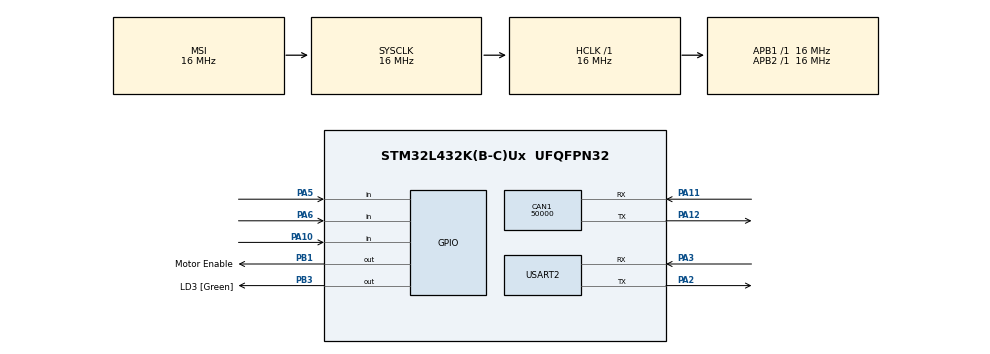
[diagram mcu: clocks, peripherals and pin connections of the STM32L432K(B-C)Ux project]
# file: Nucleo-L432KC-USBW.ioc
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CAN1.ABOM=ENABLE
CAN1.BS1=CAN_BS1_11TQ
CAN1.BS2=CAN_BS2_8TQ
CAN1.CalculateBaudRate=50000
CAN1.CalculateTimeBit=20000
CAN1.CalculateTimeQuantum=1000.0
Mcu.Family=STM32L4
Mcu.Name=STM32L432K(B-C)Ux
Mcu.Package=UFQFPN32
NVIC.CAN1_RX0_IRQn=true\:0\:0\:false\:false\:true\:true\:true\:true
NVIC.CAN1_RX1_IRQn=true\:0\:0\:false\:false\:true\:true\:true\:true
NVIC.PriorityGroup=NVIC_PRIORITYGROUP_4
NVIC.TIM1_UP_TIM16_IRQn=true\:0\:0\:false\:false\:true\:true\:true\:true
NVIC.TIM6_DAC_IRQn=true\:0\:0\:false\:false\:true\:true\:true\:true
NVIC.TIM7_IRQn=true\:0\:0\:false\:false\:true\:true\:true\:true
PA0.GPIO_Label=MCO [High speed clock in]
PA0.Mode=HSE-External-Clock-Source-for-LittleOrca
PA0.Signal=RCC_CK_IN
PA10.Signal=GPIO_Input
PA11.Mode=CAN_Activate
PA11.Signal=CAN1_RX
PA12.Mode=CAN_Activate
PA12.Signal=CAN1_TX
PA13\ (JTMS-SWDIO).GPIO_Label=SWDIO
PA13\ (JTMS-SWDIO).Mode=Serial_Wire
PA13\ (JTMS-SWDIO).Signal=SYS_JTMS-SWDIO
PA14\ (JTCK-SWCLK).GPIO_Label=SWCLK
PA14\ (JTCK-SWCLK).Mode=Serial_Wire
PA14\ (JTCK-SWCLK).Signal=SYS_JTCK-SWCLK
PA2.Mode=Asynchronous
PA2.Signal=USART2_TX
PA3.Mode=Asynchronous
PA3.Signal=USART2_RX
PA5.Signal=GPIO_Input
PA6.Signal=GPIO_Input
PB1.GPIO_Label=Motor Enable
PB1.Signal=GPIO_Output
PB3\ (JTDO-TRACESWO).GPIO_Label=LD3 [Green]
PB3\ (JTDO-TRACESWO).Signal=GPIO_Output
PC14-OSC32_IN\ (PC14).Mode=LSE-External-Oscillator
PC14-OSC32_IN\ (PC14).Signal=RCC_OSC32_IN
PC15-OSC32_OUT\ (PC15).Mode=LSE-External-Oscillator
PC15-OSC32_OUT\ (PC15).Signal=RCC_OSC32_OUT
ProjectManager.HeapSize=0x200
ProjectManager.StackSize=0x400
ProjectManager.TargetToolchain=STM32CubeIDE
RCC.ADCFreq_Value=64000000
RCC.AHBFreq_Value=16000000
RCC.APB1Freq_Value=16000000
RCC.APB1TimFreq_Value=16000000
RCC.APB2Freq_Value=16000000
RCC.APB2TimFreq_Value=16000000
RCC.CortexFreq_Value=16000000
RCC.HCLKFreq_Value=16000000
RCC.HSE_VALUE=8000000
RCC.HSI16_VALUE=16000000
RCC.HSI48_VALUE=48000000
RCC.HSI_VALUE=16000000
RCC.MSIClockRange=RCC_MSIRANGE_8
RCC.MSI_VALUE=16000000
RCC.PLLMUL=RCC_PLLMUL_4
RCC.SYSCLKFreq_VALUE=16000000
RCC.USBFreq_Value=64000000
RCC.VCOOutputFreq_Value=128000000
TIM16.Period=20000
TIM16.Prescaler=160-1
TIM6.Period=25000
TIM6.Prescaler=16-1
TIM7.Period=50
TIM7.Prescaler=16-1
USART2.VirtualMode-Asynchronous=VM_ASYNC
VP_TIM16_VS_ClockSourceINT.Mode=Enable_Timer
VP_TIM6_VS_ClockSourceINT.Mode=Enable_Timer
VP_TIM7_VS_ClockSourceINT.Mode=Enable_Timer
board=NUCLEO-L432KC

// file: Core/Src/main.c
/* USER CODE BEGIN Header */
/**
  ******************************************************************************
  * @file           : main.c
  * @brief          : Main program body
  ******************************************************************************
  * @attention
  *
  * Copyright (c) 2022 STMicroelectronics.
  * All rights reserved.
  *
  * This software is licensed under terms that can be found in the LICENSE file
  * in the root directory of this software component.
  * If no LICENSE file comes with this software, it is provided AS-IS.
  *
  ******************************************************************************
  */
/* USER CODE END Header */
#include "main.h"

/* USER CODE BEGIN Includes */

#include "stdio.h"

/* USER CODE END Includes */

CAN_HandleTypeDef hcan1;

TIM_HandleTypeDef htim6;
TIM_HandleTypeDef htim7;
TIM_HandleTypeDef htim16;

UART_HandleTypeDef huart2;

void SystemClock_Config(void);
static void MX_GPIO_Init(void);
static void MX_USART2_UART_Init(void);
static void MX_CAN1_Init(void);
static void MX_TIM6_Init(void);
static void MX_TIM7_Init(void);
static void MX_TIM16_Init(void);

/* USER CODE BEGIN 0 */

CAN_TxHeaderTypeDef TxHeader;
CAN_RxHeaderTypeDef RxHeader;

uint32_t TxMailbox;

uint8_t CAN_TxData[8];
uint8_t CAN_RxData[8];

float steer_desired = 0.0;
float steer_measured = 0.0;
float steer_max = 55.0;

float encoder_count = 0.0;

int encoder_val_a = 0;
int encoder_val_b = 0;
int encoder_val_a_pre = 0;
int encoder_val_b_pre = 0;

int duty_cycle = 0;

int gear_ratio = 102.08;

int _write(int file, char *ptr, int len){
	HAL_UART_Transmit(&huart2, (uint8_t*)ptr, len, HAL_MAX_DELAY);
	return len;
}

void HAL_CAN_RxFifo0MsgPendingCallback(CAN_HandleTypeDef *hcan1)
{
  if (HAL_CAN_GetRxMessage(hcan1, CAN_RX_FIFO0, &RxHeader, CAN_RxData) != HAL_OK)
  {
    Error_Handler();
  }

  if ((RxHeader.StdId == 0x100))
  {
	  steer_desired = (float)CAN_RxData[0] - steer_max;
  }
}

// wrap angle between -PI and PI
float wrap_to_pi(float angle){
	float new_angle;

	if (angle < -180){
		new_angle = angle + 360.0;
	} else if (angle > 180){
		new_angle = angle - 360.0;
	} else{
		new_angle = angle;
	}

	return new_angle;
}

void HAL_TIM_PeriodElapsedCallback(TIM_HandleTypeDef *htim) {
	// 40Hz = 25ms motor control loop
	if (htim == &htim6) {
		steer_measured = 360.0 / (32 * gear_ratio) * encoder_count;
		steer_measured = wrap_to_pi(steer_measured);
	}

	// 20000Hz = 0.05ms read angle measurement
	if(htim == &htim7){
		encoder_val_a = HAL_GPIO_ReadPin(GPIOA, GPIO_PIN_6);
		encoder_val_b = HAL_GPIO_ReadPin(GPIOA, GPIO_PIN_5);

		if (encoder_val_a == 1){
			if (encoder_val_b == 1 && encoder_val_b_pre == 0){
				encoder_count += 1.0;
				encoder_val_b_pre = 1.0;
			}
			else if (encoder_val_b == 0 && encoder_val_b_pre == 1){
				encoder_count -= 1.0;
				encoder_val_b_pre = 0.0;
			}
		}

		if (encoder_val_a == 0){
			if (encoder_val_b == 1 && encoder_val_b_pre == 0){
				encoder_count -= 1.0;
				encoder_val_b_pre = 1.0;
			}
			else if (encoder_val_b == 0 && encoder_val_b_pre == 1){
				encoder_count += 1.0;
				encoder_val_b_pre = 0.0;
			}
		}
	}

	// 5Hz = 200ms send angle measurement to can bus
	if (htim == &htim16){
		float steer_transmit = -steer_measured;

		if (steer_transmit > steer_max){
			steer_transmit = steer_max;
		} else if (steer_transmit < -steer_max){
			steer_transmit = -steer_max;
		}

		// send measured steering angle on canbus
		CAN_TxData[0] = (int)(steer_transmit + steer_max);
	    HAL_CAN_AddTxMessage(&hcan1, &TxHeader, CAN_TxData, &TxMailbox);

	    printf("steering angle desired %.2f \r\n", steer_desired);
	    printf("steering angle measured %.2f \r\n", steer_measured);
	}
}

/* USER CODE END 0 */

int main(void)
{

  /* MCU Configuration--------------------------------------------------------*/

  /* Reset of all peripherals, Initializes the Flash interface and the Systick. */
  HAL_Init();

  /* Configure the system clock */
  SystemClock_Config();

  /* Initialize all configured peripherals */
  MX_GPIO_Init();
  MX_USART2_UART_Init();
  MX_CAN1_Init();
  MX_TIM6_Init();
  MX_TIM7_Init();
  MX_TIM16_Init();
  /* USER CODE BEGIN 2 */

  HAL_GPIO_WritePin(GPIOB, GPIO_PIN_1, GPIO_PIN_SET);

  // HAL_TIM_PWM_Start(&htim1, TIM_CHANNEL_1);
  // HAL_TIM_PWM_Start(&htim1, TIM_CHANNEL_2);

  /* USER CODE END 2 */

  /* Infinite loop */
  while (1)
  {
  }

}

void SystemClock_Config(void)
{
  RCC_OscInitTypeDef RCC_OscInitStruct = {0};
  RCC_ClkInitTypeDef RCC_ClkInitStruct = {0};

  /** Configure the main internal regulator output voltage
  */
  if (HAL_PWREx_ControlVoltageScaling(PWR_REGULATOR_VOLTAGE_SCALE1) != HAL_OK)
  {
    Error_Handler();
  }

  /** Configure LSE Drive Capability
  */
  HAL_PWR_EnableBkUpAccess();
  __HAL_RCC_LSEDRIVE_CONFIG(RCC_LSEDRIVE_LOW);

  /** Initializes the RCC Oscillators according to the specified parameters
  * in the RCC_OscInitTypeDef structure.
  */
  RCC_OscInitStruct.OscillatorType = RCC_OSCILLATORTYPE_LSE|RCC_OSCILLATORTYPE_MSI;
  RCC_OscInitStruct.LSEState = RCC_LSE_ON;
  RCC_OscInitStruct.MSIState = RCC_MSI_ON;
  RCC_OscInitStruct.MSICalibrationValue = 0;
  RCC_OscInitStruct.MSIClockRange = RCC_MSIRANGE_8;
  RCC_OscInitStruct.PLL.PLLState = RCC_PLL_NONE;
  if (HAL_RCC_OscConfig(&RCC_OscInitStruct) != HAL_OK)
  {
    Error_Handler();
  }

  /** Initializes the CPU, AHB and APB buses clocks
  */
  RCC_ClkInitStruct.ClockType = RCC_CLOCKTYPE_HCLK|RCC_CLOCKTYPE_SYSCLK
                              |RCC_CLOCKTYPE_PCLK1|RCC_CLOCKTYPE_PCLK2;
  RCC_ClkInitStruct.SYSCLKSource = RCC_SYSCLKSOURCE_MSI;
  RCC_ClkInitStruct.AHBCLKDivider = RCC_SYSCLK_DIV1;
  RCC_ClkInitStruct.APB1CLKDivider = RCC_HCLK_DIV1;
  RCC_ClkInitStruct.APB2CLKDivider = RCC_HCLK_DIV1;

  if (HAL_RCC_ClockConfig(&RCC_ClkInitStruct, FLASH_LATENCY_0) != HAL_OK)
  {
    Error_Handler();
  }

  /** Enable MSI Auto calibration
  */
  HAL_RCCEx_EnableMSIPLLMode();
}

static void MX_CAN1_Init(void)
{

  /* USER CODE BEGIN CAN1_Init 0 */
  TxHeader.DLC = 4;
  TxHeader.ExtId = 0;
  TxHeader.IDE = CAN_ID_STD;
  TxHeader.RTR = CAN_RTR_DATA;
  TxHeader.StdId = 0x104;
  TxHeader.TransmitGlobalTime = DISABLE;

  /* USER CODE END CAN1_Init 0 */

  hcan1.Instance = CAN1;
  hcan1.Init.Prescaler = 16;
  hcan1.Init.Mode = CAN_MODE_NORMAL;
  hcan1.Init.SyncJumpWidth = CAN_SJW_1TQ;
  hcan1.Init.TimeSeg1 = CAN_BS1_11TQ;
  hcan1.Init.TimeSeg2 = CAN_BS2_8TQ;
  hcan1.Init.TimeTriggeredMode = DISABLE;
  hcan1.Init.AutoBusOff = ENABLE;
  hcan1.Init.AutoWakeUp = DISABLE;
  hcan1.Init.AutoRetransmission = DISABLE;
  hcan1.Init.ReceiveFifoLocked = DISABLE;
  hcan1.Init.TransmitFifoPriority = DISABLE;
  if (HAL_CAN_Init(&hcan1) != HAL_OK)
  {
    Error_Handler();
  }
  /* USER CODE BEGIN CAN1_Init 2 */

  CAN_FilterTypeDef canfilterconfig;

  canfilterconfig.FilterActivation = CAN_FILTER_ENABLE;
  canfilterconfig.FilterBank = 10;  // which filter bank to use from the assigned ones
  canfilterconfig.FilterFIFOAssignment = CAN_FILTER_FIFO0;
  canfilterconfig.FilterIdHigh = 0;
  canfilterconfig.FilterIdLow = 0x0000;
  canfilterconfig.FilterMaskIdHigh = 0;
  canfilterconfig.FilterMaskIdLow = 0x0000;
  canfilterconfig.FilterMode = CAN_FILTERMODE_IDMASK;
  canfilterconfig.FilterScale = CAN_FILTERSCALE_32BIT;
  canfilterconfig.SlaveStartFilterBank = 20;  // how many filters to assign to the CAN1 (master can)

  HAL_CAN_ConfigFilter(&hcan1, &canfilterconfig);
  HAL_CAN_Start(&hcan1);
  HAL_CAN_ActivateNotification(&hcan1, CAN_IT_RX_FIFO0_MSG_PENDING);

  /* USER CODE END CAN1_Init 2 */
}

static void MX_TIM6_Init(void)
{

  TIM_MasterConfigTypeDef sMasterConfig = {0};

  htim6.Instance = TIM6;
  htim6.Init.Prescaler = 16-1;
  htim6.Init.CounterMode = TIM_COUNTERMODE_UP;
  htim6.Init.Period = 25000;
  htim6.Init.AutoReloadPreload = TIM_AUTORELOAD_PRELOAD_DISABLE;
  if (HAL_TIM_Base_Init(&htim6) != HAL_OK)
  {
    Error_Handler();
  }
  sMasterConfig.MasterOutputTrigger = TIM_TRGO_RESET;
  sMasterConfig.MasterSlaveMode = TIM_MASTERSLAVEMODE_DISABLE;
  if (HAL_TIMEx_MasterConfigSynchronization(&htim6, &sMasterConfig) != HAL_OK)
  {
    Error_Handler();
  }
  /* USER CODE BEGIN TIM6_Init 2 */
  HAL_TIM_Base_Start_IT(&htim6);
  /* USER CODE END TIM6_Init 2 */

}

static void MX_TIM7_Init(void)
{

  TIM_MasterConfigTypeDef sMasterConfig = {0};

  htim7.Instance = TIM7;
  htim7.Init.Prescaler = 16-1;
  htim7.Init.CounterMode = TIM_COUNTERMODE_UP;
  htim7.Init.Period = 50;
  htim7.Init.AutoReloadPreload = TIM_AUTORELOAD_PRELOAD_DISABLE;
  if (HAL_TIM_Base_Init(&htim7) != HAL_OK)
  {
    Error_Handler();
  }
  sMasterConfig.MasterOutputTrigger = TIM_TRGO_RESET;
  sMasterConfig.MasterSlaveMode = TIM_MASTERSLAVEMODE_DISABLE;
  if (HAL_TIMEx_MasterConfigSynchronization(&htim7, &sMasterConfig) != HAL_OK)
  {
    Error_Handler();
  }
  /* USER CODE BEGIN TIM7_Init 2 */
  HAL_TIM_Base_Start_IT(&htim7);
  /* USER CODE END TIM7_Init 2 */

}

static void MX_TIM16_Init(void)
{

  htim16.Instance = TIM16;
  htim16.Init.Prescaler = 160-1;
  htim16.Init.CounterMode = TIM_COUNTERMODE_UP;
  htim16.Init.Period = 20000;
  htim16.Init.ClockDivision = TIM_CLOCKDIVISION_DIV1;
  htim16.Init.RepetitionCounter = 0;
  htim16.Init.AutoReloadPreload = TIM_AUTORELOAD_PRELOAD_DISABLE;
  if (HAL_TIM_Base_Init(&htim16) != HAL_OK)
  {
    Error_Handler();
  }
  /* USER CODE BEGIN TIM16_Init 2 */
  HAL_TIM_Base_Start_IT(&htim16);
  /* USER CODE END TIM16_Init 2 */

}

static void MX_USART2_UART_Init(void)
{

  huart2.Instance = USART2;
  huart2.Init.BaudRate = 115200;
  huart2.Init.WordLength = UART_WORDLENGTH_8B;
  huart2.Init.StopBits = UART_STOPBITS_1;
  huart2.Init.Parity = UART_PARITY_NONE;
  huart2.Init.Mode = UART_MODE_TX_RX;
  huart2.Init.HwFlowCtl = UART_HWCONTROL_NONE;
  huart2.Init.OverSampling = UART_OVERSAMPLING_16;
  huart2.Init.OneBitSampling = UART_ONE_BIT_SAMPLE_DISABLE;
  huart2.AdvancedInit.AdvFeatureInit = UART_ADVFEATURE_NO_INIT;
  if (HAL_UART_Init(&huart2) != HAL_OK)
  {
    Error_Handler();
  }

}

static void MX_GPIO_Init(void)
{
  GPIO_InitTypeDef GPIO_InitStruct = {0};

  /* GPIO Ports Clock Enable */
  __HAL_RCC_GPIOC_CLK_ENABLE();
  __HAL_RCC_GPIOA_CLK_ENABLE();
  __HAL_RCC_GPIOB_CLK_ENABLE();

  /*Configure GPIO pin Output Level */
  HAL_GPIO_WritePin(GPIOB, Motor_Enable_Pin|LD3_Pin, GPIO_PIN_RESET);

  /*Configure GPIO pins : PA5 PA6 PA10 */
  GPIO_InitStruct.Pin = GPIO_PIN_5|GPIO_PIN_6|GPIO_PIN_10;
  GPIO_InitStruct.Mode = GPIO_MODE_INPUT;
  GPIO_InitStruct.Pull = GPIO_NOPULL;
  HAL_GPIO_Init(GPIOA, &GPIO_InitStruct);

  /*Configure GPIO pins : Motor_Enable_Pin LD3_Pin */
  GPIO_InitStruct.Pin = Motor_Enable_Pin|LD3_Pin;
  GPIO_InitStruct.Mode = GPIO_MODE_OUTPUT_PP;
  GPIO_InitStruct.Pull = GPIO_NOPULL;
  GPIO_InitStruct.Speed = GPIO_SPEED_FREQ_LOW;
  HAL_GPIO_Init(GPIOB, &GPIO_InitStruct);

}

void Error_Handler(void)
{
  __disable_irq();
  while (1)
  {
  }
}
